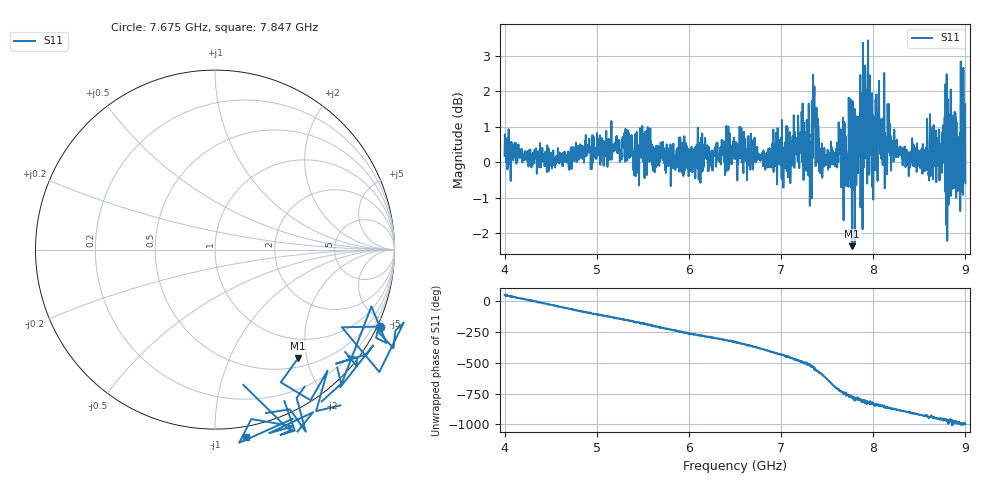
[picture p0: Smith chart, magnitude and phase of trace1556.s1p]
! Created with skrf 1.8.0 (http://scikit-rf.org).
# Hz S RI R 50.0
!freq ReS11 ImS11
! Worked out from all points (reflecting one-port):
!   1601 points, 4 GHz to 9 GHz, reference 50 ohm
!   lowest |S11| = -2.4 dB at 7.772 GHz (marker M1), VSWR 7.40, Z = 32.1 - j92.6 ohm
!   phase of S11 starts at 54 deg and turns -1051 deg over the sweep
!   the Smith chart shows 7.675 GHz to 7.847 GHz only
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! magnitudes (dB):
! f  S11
! 4 GHz  0.2
! 4.625 GHz  -0.1
! 5.25 GHz  0.0
! 5.875 GHz  0.4
! 6.5 GHz  0.1
! 7.125 GHz  0.7
! 7.209 GHz  0.8
! 7.306 GHz  0.7
! 7.359 GHz  1.9
! 7.441 GHz  0.3
! 7.75 GHz  -0.5
! 7.772 GHz  -2.4
! 7.791 GHz  -0.5
! 7.834 GHz  -0.3
! 7.875 GHz  -0.5
! 7.928 GHz  1.3
! 7.997 GHz  1.2
! 8.05 GHz  1.1
! 8.069 GHz  0.7
! 8.375 GHz  0.1
! 8.728 GHz  0.1
! 8.775 GHz  1.3
! 8.806 GHz  -0.5
! 8.884 GHz  1.4
! 8.919 GHz  -0.6
! 8.956 GHz  0.6
! 8.972 GHz  0.5
! 9 GHz  -0.6
